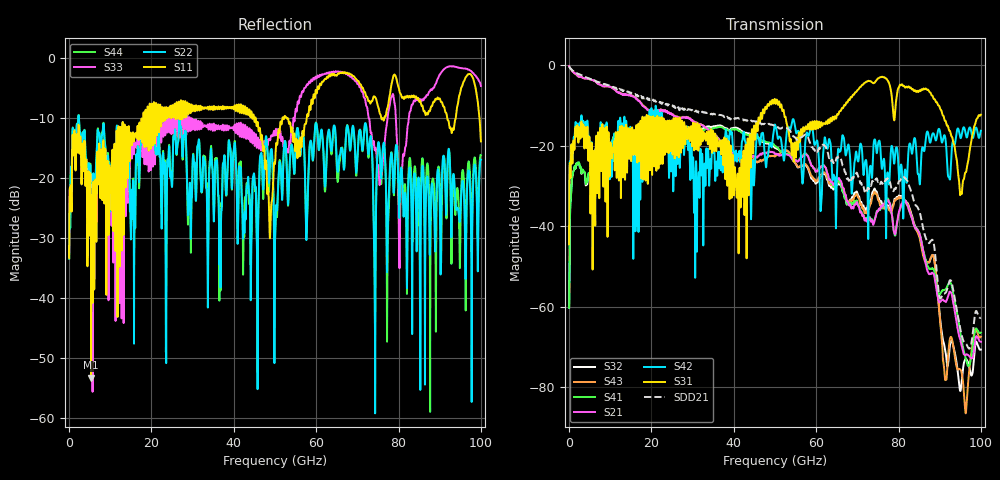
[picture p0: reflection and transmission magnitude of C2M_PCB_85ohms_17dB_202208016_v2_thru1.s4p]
! Info: Touchstone file created by Circ.  Input file=Intel_C2M_200G_5p5in_202208016_staggered.circ
# Hz S RI R 50
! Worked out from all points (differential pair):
!   10000 points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, 10 MHz to 100 GHz, reference 50 ohm
!   strongest paths, dB at 10 MHz, 25.01 GHz, 50.01 GHz, 75.01 GHz, 100 GHz:
!     S31: -44.5, -15.6, -8.6, -3.2, -12.3
!     S42: -44.5, -18.6, -14.7, -19.7, -16.3
!     S21: -0.2, -12.3, -22.1, -36.3, -68.8
!     S41: -60.2, -17.8, -20.1, -36.3, -66.5
!     S43: -0.2, -12.2, -22.6, -33.4, -67.5
!     S32: -60.2, -17.4, -20.5, -32.8, -70.7
!   taken as a pair (ports 1,3 in; 2,4 out), SDD21 dB: -0.2, -9.9, -15.3, -29.0, -62.8
!   lowest |S11| = -53.2 dB at 5.36 GHz (marker M1), VSWR 1.00, Z = 49.9 + j0.211 ohm
!   |S11| at or under -10 dB: start of sweep to 18.01 GHz; 45.31 GHz to 51.83 GHz (6.514 GHz wide, 13.4 % of centre); 52.85 GHz to 57.71 GHz (4.857 GHz wide, 8.79 % of centre)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
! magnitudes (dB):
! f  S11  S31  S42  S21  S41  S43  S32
! 10 MHz  -33.3  -44.5  -44.5  -0.2  -60.2  -0.2  -60.2
! 1.07 GHz  -16.3  -18.6  -18.4  -1.7  -26.3  -1.7  -26.3
! 5.36 GHz  -53.2  -21.1  -20.3  -3.5  -25.8  -3.5  -25.9
! 64.57 GHz  -3.0  -12.6  -28.2  -29.5  -30.0  -30.0  -30.6
! 80.81 GHz  -6.6  -4.7  -25.9  -34.4  -34.6  -33.0  -32.7
! 91.34 GHz  -9.0  -13.8  -17.9  -58.8  -55.8  -78.3  -71.0
! 100 GHz  -13.9  -12.3  -16.3  -68.8  -66.5  -67.5  -70.7
